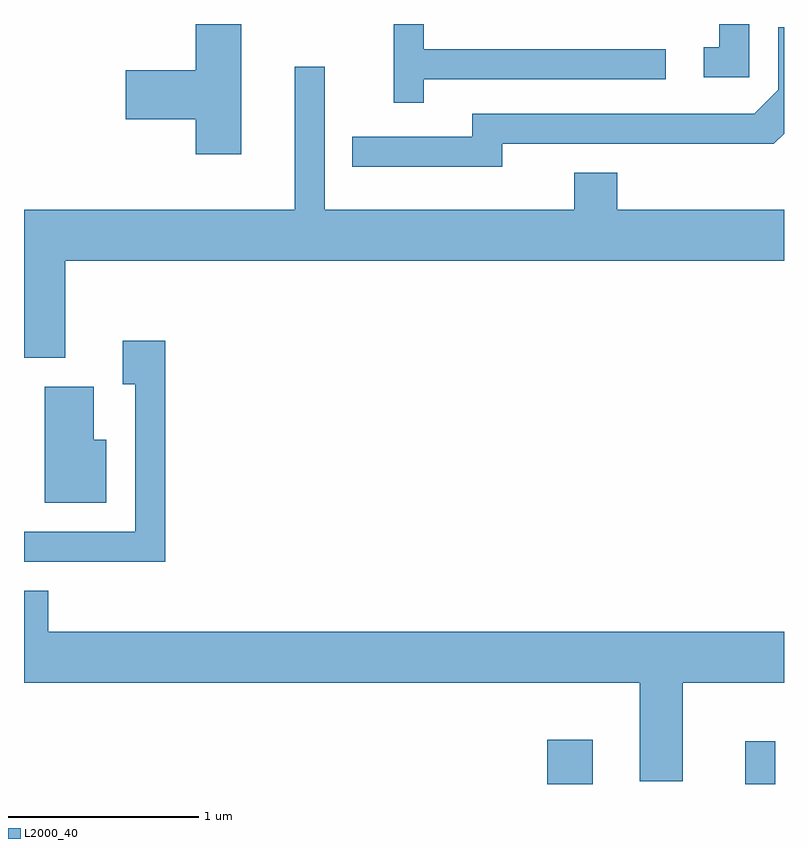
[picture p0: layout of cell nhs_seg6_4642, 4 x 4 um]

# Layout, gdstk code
import gdstk
lib = gdstk.Library(unit=1e-6, precision=1e-09)
def R(c, l, rs):  # rectangles x0, y0, x1, y1
    for r in rs: c.add(gdstk.rectangle(r[:2], r[2:], *l))
def P(c, l, *ps):  # polygons
    for p in ps: c.add(gdstk.Polygon(p, *l))
L2000_40 = (2000, 40)

nhs_seg6_4642 = lib.new_cell('nhs_seg6_4642')
R(nhs_seg6_4642, L2000_40, [(330.366,1556.162,330.604,1556.394), (331.406,1556.162,331.564,1556.388)])
P(nhs_seg6_4642, L2000_40, [(329.714,1559.871),(330.988,1559.871),(330.988,1560.029),(329.714,1560.029),(329.714,1560.162),(329.556,1560.162),(329.556,1559.748),(329.714,1559.748)],
  [(331.429,1560.162),(331.271,1560.162),(331.271,1560.039),(331.188,1560.039),(331.188,1559.881),(331.429,1559.881)],
  [(328.754,1560.162),(328.516,1560.162),(328.516,1559.919),(328.146,1559.919),(328.146,1559.661),(328.516,1559.661),(328.516,1559.476),(328.754,1559.476)],
  [(330.129,1559.531),(331.557,1559.531),(331.611,1559.585),(331.611,1560.144),(331.581,1560.144),(331.581,1559.817),(331.454,1559.689),(329.971,1559.689),(329.971,1559.569),(329.338,1559.569),(329.338,1559.411),(330.129,1559.411)],
  [(327.829,1558.916),(331.611,1558.916),(331.611,1559.184),(330.734,1559.184),(330.734,1559.379),(330.506,1559.379),(330.506,1559.184),(329.194,1559.184),(329.194,1559.938),(329.036,1559.938),(329.036,1559.184),(327.611,1559.184),(327.611,1558.406),(327.829,1558.406)],
  [(328.354,1558.494),(328.131,1558.494),(328.131,1558.266),(328.196,1558.266),(328.196,1557.489),(327.611,1557.489),(327.611,1557.331),(328.354,1557.331)],
  [(328.044,1557.974),(327.979,1557.974),(327.979,1558.254),(327.721,1558.254),(327.721,1557.641),(328.044,1557.641)],
  [(331.079,1556.696),(331.611,1556.696),(331.611,1556.964),(327.739,1556.964),(327.739,1557.179),(327.611,1557.179),(327.611,1556.696),(330.851,1556.696),(330.851,1556.176),(331.079,1556.176)])

lib.write_gds('nhs_seg6_4642.gds')
